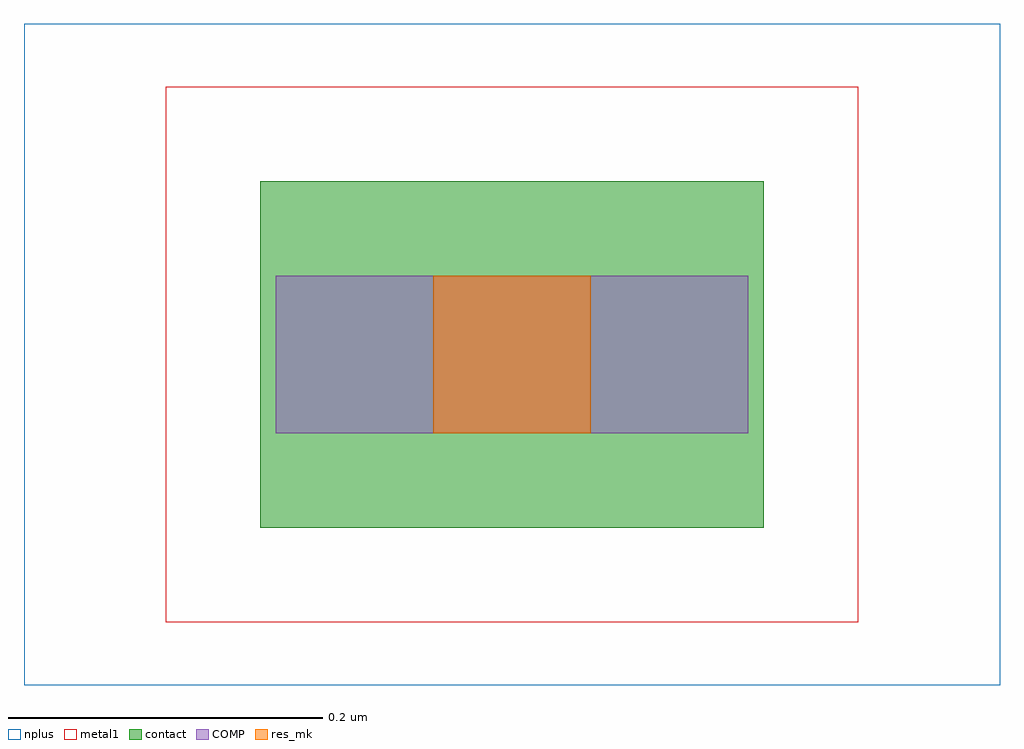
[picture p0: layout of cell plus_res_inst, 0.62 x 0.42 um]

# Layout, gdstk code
import gdstk
lib = gdstk.Library(unit=1e-6, precision=1e-09)
def R(c, l, rs):  # rectangles x0, y0, x1, y1
    for r in rs: c.add(gdstk.rectangle(r[:2], r[2:], *l))
COMP = (22, 0)
nplus = (32, 0)
contact = (33, 0)
metal1 = (34, 0)
res_mk = (110, 5)

compass_43289b1a = lib.new_cell('compass_43289b1a')
R(compass_43289b1a, res_mk, [(-0.05,-0.05,0.05,0.05)])

rectangle_43289b1a = lib.new_cell('rectangle_43289b1a')
rectangle_43289b1a.add(gdstk.Reference(compass_43289b1a, (0.05,0.05)))

compass_58da250d = lib.new_cell('compass_58da250d')
R(compass_58da250d, COMP, [(-0.15,-0.05,0.15,0.05)])

rectangle_58da250d = lib.new_cell('rectangle_58da250d')
rectangle_58da250d.add(gdstk.Reference(compass_58da250d, (0.15,0.05)))

compass_f38dc993 = lib.new_cell('compass_f38dc993')
R(compass_f38dc993, contact, [(-0.11,-0.11,0.11,0.11)])

rectangle_f38dc993 = lib.new_cell('rectangle_f38dc993')
rectangle_f38dc993.add(gdstk.Reference(compass_f38dc993, (0.11,0.11)))

via_generator_00b8456f = lib.new_cell('via_generator_00b8456f')
r = gdstk.Reference(rectangle_f38dc993, (-0.11,-0.06)); r.repetition = gdstk.Repetition(1, 1, v1=(0.5,0), v2=(0,0.5)); via_generator_00b8456f.add(r)

compass_02b66c81 = lib.new_cell('compass_02b66c81')
R(compass_02b66c81, metal1, [(-0.17,-0.17,0.17,0.17)])

rectangle_02b66c81 = lib.new_cell('rectangle_02b66c81')
rectangle_02b66c81.add(gdstk.Reference(compass_02b66c81, (0.17,0.17)))

via_stack_32639040 = lib.new_cell('via_stack_32639040')
via_stack_32639040.add(gdstk.Reference(via_generator_00b8456f, (0,0)))
via_stack_32639040.add(gdstk.Reference(rectangle_02b66c81, (-0.17,-0.12)))

compass_5636602e = lib.new_cell('compass_5636602e')
R(compass_5636602e, nplus, [(-0.31,-0.21,0.31,0.21)])

rectangle_5636602e = lib.new_cell('rectangle_5636602e')
rectangle_5636602e.add(gdstk.Reference(compass_5636602e, (0.31,0.21)))

plus_res_inst = lib.new_cell('plus_res_inst')
plus_res_inst.add(gdstk.Reference(rectangle_43289b1a, (0,0)))
plus_res_inst.add(gdstk.Reference(rectangle_58da250d, (-0.1,0)))
r = gdstk.Reference(via_stack_32639040, (0,0)); r.repetition = gdstk.Repetition(2, 1, v1=(0.1,0), v2=(0,1)); plus_res_inst.add(r)
plus_res_inst.add(gdstk.Reference(rectangle_5636602e, (-0.26,-0.16)))

lib.write_gds('plus_res_inst.gds')
